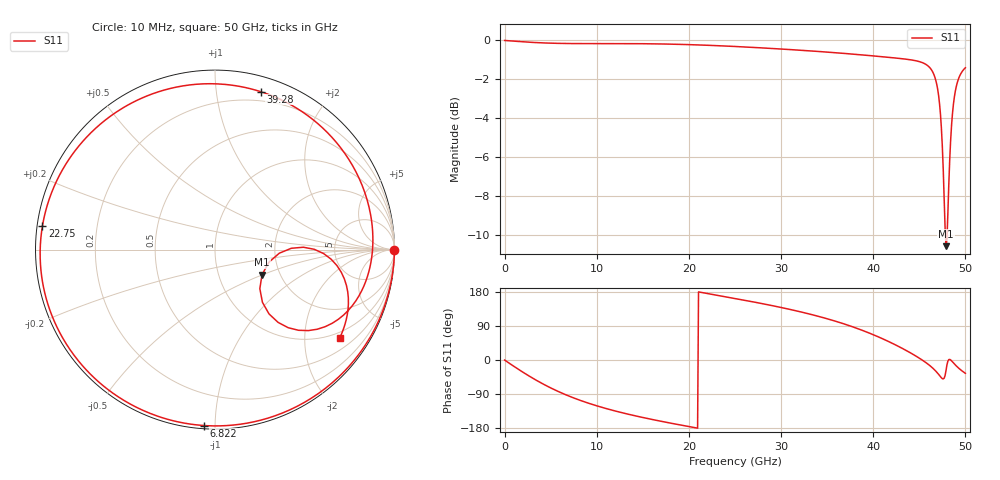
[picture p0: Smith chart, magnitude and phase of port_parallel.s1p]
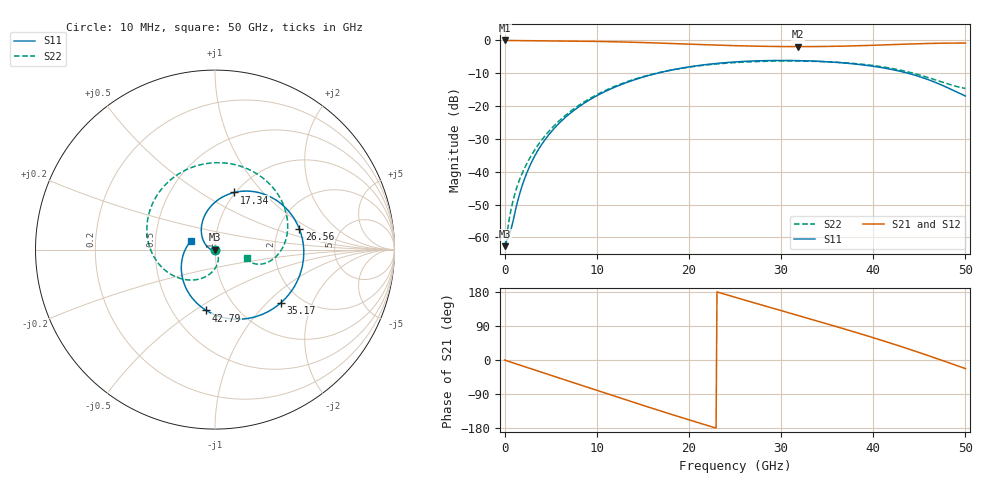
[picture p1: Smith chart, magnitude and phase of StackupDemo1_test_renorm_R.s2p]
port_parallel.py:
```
import skrf as rf
import numpy as np

# 1. 加载 S2P 文件
ntw = rf.Network('../samples/StackupDemo1_test_renorm_R.s2p')

# 2. 获取 Y 参数矩阵，其 shape 为 (f, 2, 2)
# y[:, 0, 0] 是 Y11, y[:, 0, 1] 是 Y12, 依此类推
y_orig = ntw.y

# 3. 按照并联规则计算新的导纳：Y_new = Y11 + Y12 + Y21 + Y22
# 这样会将 (f, 2, 2) 的矩阵在最后两个维度上求和，变为 (f,)
y_sum = y_orig.sum(axis=(1, 2))

# 4. 将 shape 调整为 (f, 1, 1) 以符合 skrf 的 Network 构造要求
y_new = y_sum[:, np.newaxis, np.newaxis]

# 5. 创建新的 S1P 网络
# 注意：z0 默认取原网络第一个端口的阻抗（通常是 50）
ntw_s1p = rf.Network(frequency=ntw.frequency, y=y_new, z0=ntw.z0[:, 0])
# 保存为 Touchstone 文件 (.s1p)
# 你可以指定完整路径，如果不写路径则保存在当前脚本目录下
output_filename = './port_parallel.s1p'
ntw_s1p.write_touchstone(output_filename)

print(f"转换完成，S1P 文件已保存至: {output_filename}")
```
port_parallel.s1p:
! Created with skrf (http://scikit-rf.org).
# GHz S RI R 50.0
!freq ReS11 ImS11
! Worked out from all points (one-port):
!   500 points, 10 MHz to 50 GHz, reference 50 ohm
!   lowest |S11| = -10.5 dB at 47.9 GHz (marker M1), VSWR 1.84, Z = 80.9 - j24.7 ohm
!   |S11| at or under -10 dB: 47.83859 GHz to 48.0126 GHz (174 MHz wide, 0.363 % of centre)
!   S11 on the Smith chart (normalised r, x): 10 MHz: open; 6.822 GHz: 0.02, -0.94; 22.75 GHz: 0.02, +0.07; 39.28 GHz: 0.12, +1.32; 50 GHz: 0.82, -2.94
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0.01  1 -0.00301
3.416132  0.5942 -0.7887
6.822265  -0.0604 -0.9802
11.33038  -0.6332 -0.7501
16.74012  -0.9237 -0.3266
22.75094  -0.9615 0.131
33.37006  -0.4635 0.8172
39.2807  0.2541 0.8801
42.18593  0.6636 0.6119
44.99098  0.8794 0.0771
47.09477  0.5697 -0.4437
47.89621  0.2621 -0.1394
48.79784  0.7034 -0.1259
50  0.6955 -0.4909
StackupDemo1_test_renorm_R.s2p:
! Created with skrf (http://scikit-rf.org).
# GHz S RI R 50.0
! Port[1] = signal_pkg_L4_trace_N_T1
! Port[2] = signal_BGA_N_0_T1
!freq ReS11 ImS11 ReS21 ImS21 ReS12 ImS12 ReS22 ImS22
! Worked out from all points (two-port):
!   500 points, 10 MHz to 50 GHz, reference 50 ohm
!   highest |S21| = -0.01 dB at 10 MHz (marker M1); lowest = -1.9 dB at 31.87 GHz (marker M2)
!   |S21| within 3 dB of the highest: start of sweep to end of sweep
!   lowest |S11| = -62.7 dB at 10 MHz (marker M3), VSWR 1.00, Z = 50.1 + j0.00109 ohm
!   |S11| at or under -10 dB: start of sweep to 16.55 GHz; 43.78 GHz to end of sweep
!   |S22| runs from -62.7 to -6.3 dB; largest |S21 - S12| = 3.2e-10
!   S11 on the Smith chart (normalised r, x): 10 MHz: 1.00, +0.00; 17.34 GHz: 0.99, +0.71; 26.56 GHz: 2.60, +0.79; 35.17 GHz: 1.60, -1.21; 42.79 GHz: 0.73, -0.56; 50 GHz: 0.76, +0.08
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0.01  0.000736 1.08e-05  0.9992 -0.00151  0.9992 -0.00151  0.000737 1e-05
1.713066  -0.00377 -0.00326  0.9656 -0.2383  0.9656 -0.2383  0.00544 -0.00602
5.019018  -0.0382 0.0116  0.7531 -0.6368  0.7531 -0.6368  0.0182 -0.0406
11.02984  -0.0704 0.1545  0.0316 -0.9598  0.0316 -0.9598  -0.0729 -0.1596
17.3412  0.1071 0.3182  -0.6699 -0.6105  -0.6699 -0.6105  -0.3332 -0.0517
25.05509  0.4337 0.184  -0.8043 0.2122  -0.8043 0.2122  -0.2489 0.3875
26.5578  0.4694 0.1167  -0.7418 0.3532  -0.7418 0.3532  -0.1665 0.4419
31.86735  0.4688 -0.1515  -0.3694 0.7152  -0.3694 0.7152  0.1651 0.4565
35.17331  0.368 -0.2955  -0.0573 0.8094  -0.0573 0.8094  0.3261 0.3412
42.78701  -0.0489 -0.3389  0.6911 0.5298  0.6911 0.5298  0.3562 -0.0209
50  -0.1337 0.0489  0.8416 -0.3508  0.8416 -0.3508  0.1797 -0.0474
